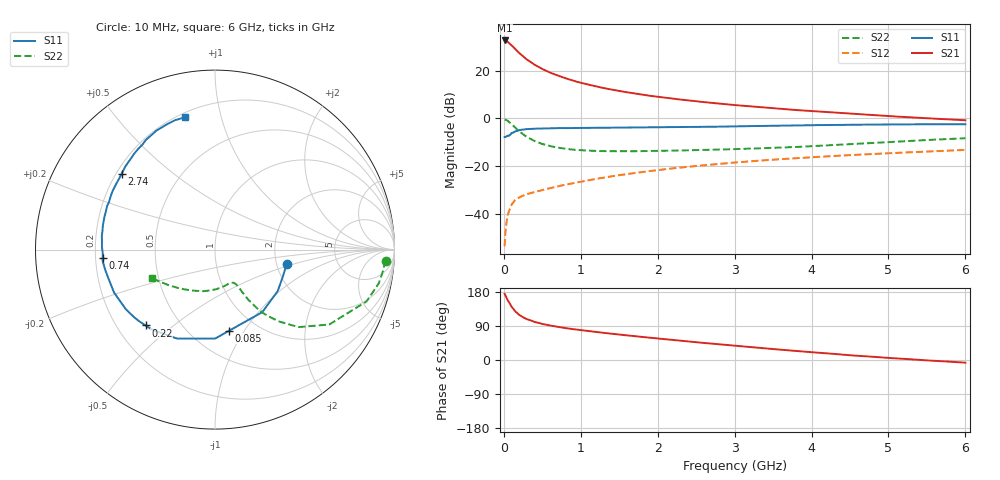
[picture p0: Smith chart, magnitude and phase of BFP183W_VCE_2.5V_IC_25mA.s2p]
! Infineon Technologies  Discrete & RF Semiconductors
! BFP183W
! VCE = 2.5 V,  IC =  25 mA
! Common Emitter S-Parameters:  Jan 2016
# GHz  S  MA  R  50
!  f  S11  S21  S12  S22
! GHz  MAG  ANG  MAG  ANG  MAG  ANG  MAG  ANG
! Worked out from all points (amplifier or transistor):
!   210 points, 10 MHz to 6 GHz, reference 50 ohm
!   highest |S21| = 32.7 dB at 10 MHz (marker M1)
!   |S21| within 3 dB of that: start of sweep to 130.5 MHz
!   unconditionally stable (mu >= 1): 774 MHz to 4.955 GHz
!   at 185 MHz: K = 0.41, MSG = 30.7 dB, |S12| = -33.4 dB
!   at 1.52 GHz: K = 1.17, MAG = 15.1 dB, |S12| = -23.7 dB
!   at 6 GHz: K = 0.97, MSG = 6.2 dB, |S12| = -13.2 dB
!   S11 on the Smith chart (normalised r, x): 10 MHz: 2.27, -0.44; 85 MHz: 0.75, -0.86; 220 MHz: 0.32, -0.40; 740 MHz: 0.23, -0.03; 2.74 GHz: 0.22, +0.34; 6 GHz: 0.22, +0.77
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0.01  0.4074 -11.3  43.1 174.6  0.0021 90.5  0.952 -3.7
0.03  0.419 -33.5  42.4 166.5  0.0058 81.5  0.9316 -11.6
0.05  0.4368 -52.9  40.44 157.9  0.0093 73.4  0.8924 -18.9
0.085  0.4584 -80.0  35.81 146.4  0.0136 62.6  0.7952 -28.4
0.1  0.4956 -89.9  34.35 140.6  0.0156 59.9  0.7614 -33.2
0.15  0.5389 -113.0  28.37 127.8  0.0196 52.5  0.6355 -42.8
0.2  0.5678 -128.3  23.5 119.0  0.0221 49.5  0.5364 -48.3
0.22  0.573 -132.5  22.05 116.7  0.0229 48.4  0.507 -49.7
0.26  0.5877 -140.2  19.38 111.7  0.0244 46.7  0.4524 -52.4
0.3  0.5978 -146.4  17.12 107.7  0.0258 46.3  0.4077 -54.2
0.4  0.6113 -157.0  13.33 100.4  0.0286 46.8  0.3353 -56.4
0.5  0.6147 -164.2  10.87 95.1  0.0315 48.2  0.2913 -57.2
0.6  0.6221 -169.7  9.144 90.9  0.0345 50.1  0.263 -57.6
0.74  0.6278 -175.8  7.536 86.2  0.0388 52.5  0.239 -58.2
1.02  0.6315 175.5  5.483 78.4  0.0477 55.9  0.2147 -60.2
1.4  0.64 166.1  4.027 69.3  0.0611 57.9  0.2055 -64.6
2.02  0.6517 153.5  2.818 56.3  0.0832 57.8  0.2088 -75.0
2.74  0.6701 141.0  2.09 42.5  0.1093 55.2  0.2214 -89.5
3.1  0.6849 135.2  1.85 36.1  0.1225 53.0  0.2298 -97.7
4.1  0.7247 121.1  1.392 19.1  0.1569 47.0  0.2666 -121.9
5.1  0.7487 110.2  1.096 4.3  0.1895 40.4  0.3259 -142.7
6  0.7558 102.9  0.916 -7.0  0.2186 34.9  0.3847 -155.7
